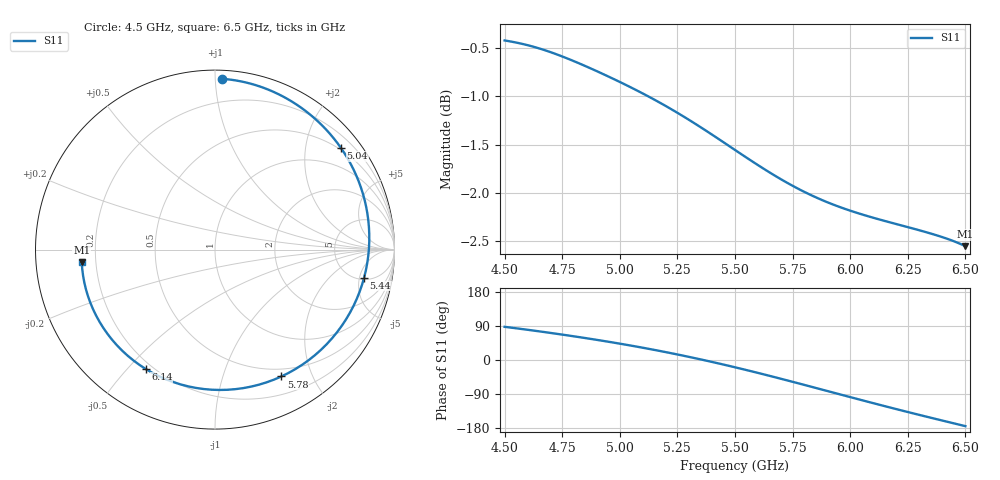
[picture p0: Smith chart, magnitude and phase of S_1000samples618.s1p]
! TOUCHSTONE file generated by CST MICROWAVE STUDIO
! Date and time: Fri Oct 28 19:11:43 2022
! Project name: L.cst
! Parameters = {Di=1.27; Epsilon_r=1.56; InnerDiameter=1.27; Length=2; Lf=10; Lg=60; OuterConductorThickness=0.2921; OuterDiameter=3.6; Wf=3; Wp=41.2; de=1.5; df=6.8; g=0.8; gx=3.72492; gy=2.4321; h=2.34; hf=1.524; px=10.1856; py=11.497; w=9.7; wx=6.4607; wy=9.06488}
! Header version: 2018
! Port assignment regex: !\s*Touchstone port\s*([0-9]+)\s*=\s*(CST MWS port|CST DS port)\s*([0-9]+|Zmin|Zmax)\s*\(\"(.*)\"\)(\s*mode\s*([0-9]+))?.*
! Touchstone port assignment:
! Touchstone port 1 = CST MWS port 1 ("")
# GHz S DB R 50
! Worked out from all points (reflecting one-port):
!   101 points, 4.5 GHz to 6.5 GHz, reference 50 ohm
!   lowest |S11| = -2.5 dB at 6.5 GHz (marker M1), VSWR 6.86, Z = 7.3 - j2.32 ohm
!   phase of S11 starts at 88 deg and turns -262 deg over the sweep
!   S11 on the Smith chart (normalised r, x): 4.5 GHz: 0.05, +1.04; 5.04 GHz: 0.46, +2.77; 5.44 GHz: 5.38, -5.89; 5.78 GHz: 0.41, -1.58; 6.14 GHz: 0.17, -0.56; 6.5 GHz: 0.15, -0.05
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4.5  -0.42 87.5
4.64  -0.50 76.4
4.76  -0.60 66.1
4.88  -0.72 55.1
5  -0.85 43.1
5.04  -0.90 38.9
5.16  -1.05 25.5
5.26  -1.19 13.3
5.36  -1.33 0.4
5.44  -1.46 -10.6
5.5  -1.55 -19.2
5.56  -1.65 -28.1
5.62  -1.74 -37.2
5.7  -1.86 -49.6
5.76  -1.94 -59.1
5.78  -1.96 -62.3
5.84  -2.03 -72.0
5.9  -2.09 -81.7
5.94  -2.13 -88.2
6  -2.18 -97.9
6.06  -2.23 -107.5
6.14  -2.28 -120.2
6.2  -2.32 -129.6
6.26  -2.36 -138.8
6.32  -2.40 -147.9
6.38  -2.44 -156.8
6.44  -2.49 -165.7
6.5  -2.55 -174.6
